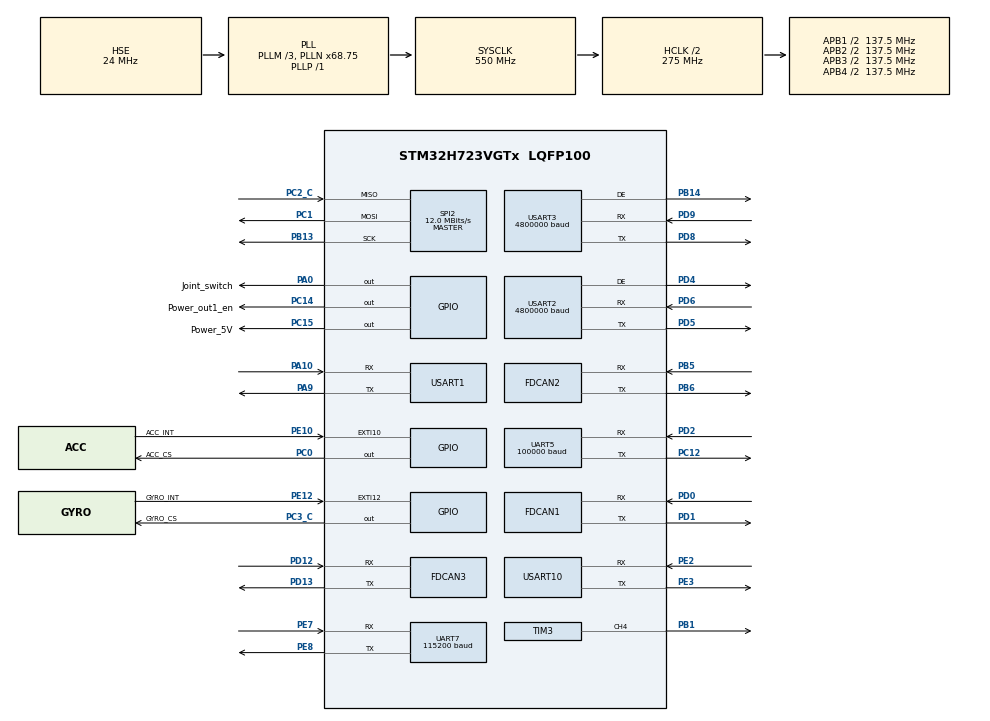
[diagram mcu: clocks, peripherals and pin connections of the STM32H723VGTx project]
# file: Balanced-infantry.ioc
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CORTEX_M7.default_mode_Activation=0
Dma.Request0=USART2_RX
Dma.Request1=USART2_TX
Dma.Request10=USART10_RX
Dma.Request11=USART1_RX
Dma.Request12=USART1_TX
Dma.Request2=USART3_RX
Dma.Request3=USART3_TX
Dma.Request4=UART7_RX
Dma.Request5=UART7_TX
Dma.Request6=UART5_RX
Dma.Request7=SPI2_RX
Dma.Request8=SPI2_TX
Dma.Request9=USART10_TX
Dma.SPI2_RX.7.Direction=DMA_PERIPH_TO_MEMORY
Dma.SPI2_RX.7.EventEnable=DISABLE
Dma.SPI2_RX.7.FIFOMode=DMA_FIFOMODE_DISABLE
Dma.SPI2_RX.7.Instance=DMA1_Stream7
Dma.SPI2_RX.7.MemDataAlignment=DMA_MDATAALIGN_BYTE
Dma.SPI2_RX.7.MemInc=DMA_MINC_ENABLE
Dma.SPI2_RX.7.Mode=DMA_NORMAL
Dma.SPI2_RX.7.PeriphDataAlignment=DMA_PDATAALIGN_BYTE
Dma.SPI2_RX.7.PeriphInc=DMA_PINC_DISABLE
Dma.SPI2_RX.7.Polarity=HAL_DMAMUX_REQ_GEN_RISING
Dma.SPI2_RX.7.Priority=DMA_PRIORITY_VERY_HIGH
Dma.SPI2_RX.7.RequestNumber=1
Dma.SPI2_RX.7.SignalID=NONE
Dma.SPI2_RX.7.SyncEnable=DISABLE
Dma.SPI2_RX.7.SyncPolarity=HAL_DMAMUX_SYNC_NO_EVENT
Dma.SPI2_RX.7.SyncRequestNumber=1
Dma.SPI2_RX.7.SyncSignalID=NONE
Dma.SPI2_TX.8.Direction=DMA_MEMORY_TO_PERIPH
Dma.SPI2_TX.8.EventEnable=DISABLE
Dma.SPI2_TX.8.FIFOMode=DMA_FIFOMODE_DISABLE
Dma.SPI2_TX.8.Instance=DMA2_Stream0
Dma.SPI2_TX.8.MemDataAlignment=DMA_MDATAALIGN_BYTE
Dma.SPI2_TX.8.MemInc=DMA_MINC_ENABLE
Dma.SPI2_TX.8.Mode=DMA_NORMAL
Dma.SPI2_TX.8.PeriphDataAlignment=DMA_PDATAALIGN_BYTE
Dma.SPI2_TX.8.PeriphInc=DMA_PINC_DISABLE
Dma.SPI2_TX.8.Polarity=HAL_DMAMUX_REQ_GEN_RISING
Dma.SPI2_TX.8.Priority=DMA_PRIORITY_HIGH
Dma.SPI2_TX.8.RequestNumber=1
Dma.SPI2_TX.8.SignalID=NONE
Dma.SPI2_TX.8.SyncEnable=DISABLE
Dma.SPI2_TX.8.SyncPolarity=HAL_DMAMUX_SYNC_NO_EVENT
Dma.SPI2_TX.8.SyncRequestNumber=1
Dma.SPI2_TX.8.SyncSignalID=NONE
Dma.UART5_RX.6.Direction=DMA_PERIPH_TO_MEMORY
Dma.UART5_RX.6.EventEnable=DISABLE
Dma.UART5_RX.6.FIFOMode=DMA_FIFOMODE_DISABLE
Dma.UART5_RX.6.Instance=DMA1_Stream0
Dma.UART5_RX.6.MemDataAlignment=DMA_MDATAALIGN_BYTE
Dma.UART5_RX.6.MemInc=DMA_MINC_ENABLE
Dma.UART5_RX.6.Mode=DMA_CIRCULAR
Dma.UART5_RX.6.PeriphDataAlignment=DMA_PDATAALIGN_BYTE
Dma.UART5_RX.6.PeriphInc=DMA_PINC_DISABLE
Dma.UART5_RX.6.Polarity=HAL_DMAMUX_REQ_GEN_RISING
Dma.UART5_RX.6.Priority=DMA_PRIORITY_VERY_HIGH
Dma.UART5_RX.6.RequestNumber=1
Dma.UART5_RX.6.SignalID=NONE
Dma.UART5_RX.6.SyncEnable=DISABLE
Dma.UART5_RX.6.SyncPolarity=HAL_DMAMUX_SYNC_NO_EVENT
Dma.UART5_RX.6.SyncRequestNumber=1
Dma.UART5_RX.6.SyncSignalID=NONE
Dma.UART7_RX.4.Direction=DMA_PERIPH_TO_MEMORY
Dma.UART7_RX.4.EventEnable=DISABLE
Dma.UART7_RX.4.FIFOMode=DMA_FIFOMODE_DISABLE
Dma.UART7_RX.4.Instance=DMA1_Stream4
Dma.UART7_RX.4.MemDataAlignment=DMA_MDATAALIGN_BYTE
Dma.UART7_RX.4.MemInc=DMA_MINC_ENABLE
Dma.UART7_RX.4.Mode=DMA_CIRCULAR
Dma.UART7_RX.4.PeriphDataAlignment=DMA_PDATAALIGN_BYTE
Dma.UART7_RX.4.PeriphInc=DMA_PINC_DISABLE
Dma.UART7_RX.4.Polarity=HAL_DMAMUX_REQ_GEN_RISING
Dma.UART7_RX.4.Priority=DMA_PRIORITY_VERY_HIGH
Dma.UART7_RX.4.RequestNumber=1
Dma.UART7_RX.4.SignalID=NONE
Dma.UART7_RX.4.SyncEnable=DISABLE
Dma.UART7_RX.4.SyncPolarity=HAL_DMAMUX_SYNC_NO_EVENT
Dma.UART7_RX.4.SyncRequestNumber=1
Dma.UART7_RX.4.SyncSignalID=NONE
Dma.UART7_TX.5.Direction=DMA_MEMORY_TO_PERIPH
Dma.UART7_TX.5.EventEnable=DISABLE
Dma.UART7_TX.5.FIFOMode=DMA_FIFOMODE_DISABLE
Dma.UART7_TX.5.Instance=DMA1_Stream5
Dma.UART7_TX.5.MemDataAlignment=DMA_MDATAALIGN_BYTE
Dma.UART7_TX.5.MemInc=DMA_MINC_ENABLE
Dma.UART7_TX.5.Mode=DMA_NORMAL
Dma.UART7_TX.5.PeriphDataAlignment=DMA_PDATAALIGN_BYTE
Dma.UART7_TX.5.PeriphInc=DMA_PINC_DISABLE
Dma.UART7_TX.5.Polarity=HAL_DMAMUX_REQ_GEN_RISING
Dma.UART7_TX.5.Priority=DMA_PRIORITY_LOW
Dma.UART7_TX.5.RequestNumber=1
Dma.UART7_TX.5.SignalID=NONE
Dma.UART7_TX.5.SyncEnable=DISABLE
Dma.UART7_TX.5.SyncPolarity=HAL_DMAMUX_SYNC_NO_EVENT
Dma.UART7_TX.5.SyncRequestNumber=1
Dma.UART7_TX.5.SyncSignalID=NONE
Dma.USART10_RX.10.Direction=DMA_PERIPH_TO_MEMORY
Dma.USART10_RX.10.EventEnable=DISABLE
Dma.USART10_RX.10.FIFOMode=DMA_FIFOMODE_DISABLE
Dma.USART10_RX.10.Instance=DMA2_Stream2
Dma.USART10_RX.10.MemDataAlignment=DMA_MDATAALIGN_BYTE
Dma.USART10_RX.10.MemInc=DMA_MINC_ENABLE
Dma.USART10_RX.10.Mode=DMA_CIRCULAR
Dma.USART10_RX.10.PeriphDataAlignment=DMA_PDATAALIGN_BYTE
Dma.USART10_RX.10.PeriphInc=DMA_PINC_DISABLE
Dma.USART10_RX.10.Polarity=HAL_DMAMUX_REQ_GEN_RISING
Dma.USART10_RX.10.Priority=DMA_PRIORITY_VERY_HIGH
Dma.USART10_RX.10.RequestNumber=1
Dma.USART10_RX.10.SignalID=NONE
Dma.USART10_RX.10.SyncEnable=DISABLE
Dma.USART10_RX.10.SyncPolarity=HAL_DMAMUX_SYNC_NO_EVENT
Dma.USART10_RX.10.SyncRequestNumber=1
Dma.USART10_RX.10.SyncSignalID=NONE
Dma.USART10_TX.9.Direction=DMA_MEMORY_TO_PERIPH
Dma.USART10_TX.9.EventEnable=DISABLE
Dma.USART10_TX.9.FIFOMode=DMA_FIFOMODE_DISABLE
Dma.USART10_TX.9.Instance=DMA2_Stream1
Dma.USART10_TX.9.MemDataAlignment=DMA_MDATAALIGN_BYTE
Dma.USART10_TX.9.MemInc=DMA_MINC_ENABLE
Dma.USART10_TX.9.Mode=DMA_NORMAL
Dma.USART10_TX.9.PeriphDataAlignment=DMA_PDATAALIGN_BYTE
Dma.USART10_TX.9.PeriphInc=DMA_PINC_DISABLE
Dma.USART10_TX.9.Polarity=HAL_DMAMUX_REQ_GEN_RISING
Dma.USART10_TX.9.Priority=DMA_PRIORITY_MEDIUM
Dma.USART10_TX.9.RequestNumber=1
Dma.USART10_TX.9.SignalID=NONE
Dma.USART10_TX.9.SyncEnable=DISABLE
Dma.USART10_TX.9.SyncPolarity=HAL_DMAMUX_SYNC_NO_EVENT
Dma.USART10_TX.9.SyncRequestNumber=1
Dma.USART10_TX.9.SyncSignalID=NONE
Dma.USART1_RX.11.Direction=DMA_PERIPH_TO_MEMORY
Dma.USART1_RX.11.EventEnable=DISABLE
Dma.USART1_RX.11.FIFOMode=DMA_FIFOMODE_DISABLE
Dma.USART1_RX.11.Instance=DMA2_Stream3
Dma.USART1_RX.11.MemDataAlignment=DMA_MDATAALIGN_BYTE
Dma.USART1_RX.11.MemInc=DMA_MINC_ENABLE
Dma.USART1_RX.11.Mode=DMA_CIRCULAR
Dma.USART1_RX.11.PeriphDataAlignment=DMA_PDATAALIGN_BYTE
Dma.USART1_RX.11.PeriphInc=DMA_PINC_DISABLE
Dma.USART1_RX.11.Polarity=HAL_DMAMUX_REQ_GEN_RISING
Dma.USART1_RX.11.Priority=DMA_PRIORITY_VERY_HIGH
Dma.USART1_RX.11.RequestNumber=1
Dma.USART1_RX.11.SignalID=NONE
Dma.USART1_RX.11.SyncEnable=DISABLE
Dma.USART1_RX.11.SyncPolarity=HAL_DMAMUX_SYNC_NO_EVENT
Dma.USART1_RX.11.SyncRequestNumber=1
Dma.USART1_RX.11.SyncSignalID=NONE
Dma.USART1_TX.12.Direction=DMA_MEMORY_TO_PERIPH
Dma.USART1_TX.12.EventEnable=DISABLE
Dma.USART1_TX.12.FIFOMode=DMA_FIFOMODE_DISABLE
Dma.USART1_TX.12.Instance=DMA2_Stream4
Dma.USART1_TX.12.MemDataAlignment=DMA_MDATAALIGN_BYTE
Dma.USART1_TX.12.MemInc=DMA_MINC_ENABLE
Dma.USART1_TX.12.Mode=DMA_NORMAL
Dma.USART1_TX.12.PeriphDataAlignment=DMA_PDATAALIGN_BYTE
Dma.USART1_TX.12.PeriphInc=DMA_PINC_DISABLE
Dma.USART1_TX.12.Polarity=HAL_DMAMUX_REQ_GEN_RISING
Dma.USART1_TX.12.Priority=DMA_PRIORITY_LOW
Dma.USART1_TX.12.RequestNumber=1
Dma.USART1_TX.12.SignalID=NONE
Dma.USART1_TX.12.SyncEnable=DISABLE
Dma.USART1_TX.12.SyncPolarity=HAL_DMAMUX_SYNC_NO_EVENT
Dma.USART1_TX.12.SyncRequestNumber=1
Dma.USART1_TX.12.SyncSignalID=NONE
Dma.USART2_RX.0.Direction=DMA_PERIPH_TO_MEMORY
Dma.USART2_RX.0.EventEnable=DISABLE
Dma.USART2_RX.0.FIFOMode=DMA_FIFOMODE_DISABLE
Dma.USART2_RX.0.Instance=DMA1_Stream6
Dma.USART2_RX.0.MemDataAlignment=DMA_MDATAALIGN_BYTE
Dma.USART2_RX.0.MemInc=DMA_MINC_ENABLE
Dma.USART2_RX.0.Mode=DMA_NORMAL
Dma.USART2_RX.0.PeriphDataAlignment=DMA_PDATAALIGN_BYTE
Dma.USART2_RX.0.PeriphInc=DMA_PINC_DISABLE
Dma.USART2_RX.0.Polarity=HAL_DMAMUX_REQ_GEN_RISING
Dma.USART2_RX.0.Priority=DMA_PRIORITY_LOW
Dma.USART2_RX.0.RequestNumber=1
Dma.USART2_RX.0.SignalID=NONE
Dma.USART2_RX.0.SyncEnable=DISABLE
Dma.USART2_RX.0.SyncPolarity=HAL_DMAMUX_SYNC_NO_EVENT
Dma.USART2_RX.0.SyncRequestNumber=1
Dma.USART2_RX.0.SyncSignalID=NONE
Dma.USART2_TX.1.Direction=DMA_MEMORY_TO_PERIPH
Dma.USART2_TX.1.EventEnable=DISABLE
Dma.USART2_TX.1.FIFOMode=DMA_FIFOMODE_DISABLE
Dma.USART2_TX.1.Instance=DMA1_Stream1
Dma.USART2_TX.1.MemDataAlignment=DMA_MDATAALIGN_BYTE
Dma.USART2_TX.1.MemInc=DMA_MINC_ENABLE
Dma.USART2_TX.1.Mode=DMA_NORMAL
Dma.USART2_TX.1.PeriphDataAlignment=DMA_PDATAALIGN_BYTE
Dma.USART2_TX.1.PeriphInc=DMA_PINC_DISABLE
Dma.USART2_TX.1.Polarity=HAL_DMAMUX_REQ_GEN_RISING
Dma.USART2_TX.1.Priority=DMA_PRIORITY_LOW
Dma.USART2_TX.1.RequestNumber=1
Dma.USART2_TX.1.SignalID=NONE
Dma.USART2_TX.1.SyncEnable=DISABLE
Dma.USART2_TX.1.SyncPolarity=HAL_DMAMUX_SYNC_NO_EVENT
Dma.USART2_TX.1.SyncRequestNumber=1
Dma.USART2_TX.1.SyncSignalID=NONE
Dma.USART3_RX.2.Direction=DMA_PERIPH_TO_MEMORY
Dma.USART3_RX.2.EventEnable=DISABLE
Dma.USART3_RX.2.FIFOMode=DMA_FIFOMODE_DISABLE
Dma.USART3_RX.2.Instance=DMA1_Stream2
Dma.USART3_RX.2.MemDataAlignment=DMA_MDATAALIGN_BYTE
Dma.USART3_RX.2.MemInc=DMA_MINC_ENABLE
Dma.USART3_RX.2.Mode=DMA_NORMAL
Dma.USART3_RX.2.PeriphDataAlignment=DMA_PDATAALIGN_BYTE
Dma.USART3_RX.2.PeriphInc=DMA_PINC_DISABLE
Dma.USART3_RX.2.Polarity=HAL_DMAMUX_REQ_GEN_RISING
Dma.USART3_RX.2.Priority=DMA_PRIORITY_LOW
Dma.USART3_RX.2.RequestNumber=1
Dma.USART3_RX.2.SignalID=NONE
Dma.USART3_RX.2.SyncEnable=DISABLE
Dma.USART3_RX.2.SyncPolarity=HAL_DMAMUX_SYNC_NO_EVENT
Dma.USART3_RX.2.SyncRequestNumber=1
Dma.USART3_RX.2.SyncSignalID=NONE
Dma.USART3_TX.3.Direction=DMA_MEMORY_TO_PERIPH
Dma.USART3_TX.3.EventEnable=DISABLE
Dma.USART3_TX.3.FIFOMode=DMA_FIFOMODE_DISABLE
Dma.USART3_TX.3.Instance=DMA1_Stream3
Dma.USART3_TX.3.MemDataAlignment=DMA_MDATAALIGN_BYTE
Dma.USART3_TX.3.MemInc=DMA_MINC_ENABLE
Dma.USART3_TX.3.Mode=DMA_NORMAL
Dma.USART3_TX.3.PeriphDataAlignment=DMA_PDATAALIGN_BYTE
Dma.USART3_TX.3.PeriphInc=DMA_PINC_DISABLE
Dma.USART3_TX.3.Polarity=HAL_DMAMUX_REQ_GEN_RISING
Dma.USART3_TX.3.Priority=DMA_PRIORITY_LOW
Dma.USART3_TX.3.RequestNumber=1
Dma.USART3_TX.3.SignalID=NONE
Dma.USART3_TX.3.SyncEnable=DISABLE
Dma.USART3_TX.3.SyncPolarity=HAL_DMAMUX_SYNC_NO_EVENT
Dma.USART3_TX.3.SyncRequestNumber=1
Dma.USART3_TX.3.SyncSignalID=NONE
FDCAN1.CalculateBaudRateNominal=1000000
FDCAN1.CalculateTimeBitNominal=1000
FDCAN1.CalculateTimeQuantumNominal=31.25
FDCAN1.DataPrescaler=3
FDCAN1.DataSyncJumpWidth=10
FDCAN1.DataTimeSeg1=23
FDCAN1.DataTimeSeg2=8
FDCAN1.FrameFormat=FDCAN_FRAME_CLASSIC
FDCAN1.NominalPrescaler=3
FDCAN1.NominalTimeSeg1=23
FDCAN1.NominalTimeSeg2=8
FDCAN1.RxFifo0ElmtSize=FDCAN_DATA_BYTES_8
FDCAN1.RxFifo0ElmtsNbr=2
FDCAN1.StdFiltersNbr=1
FDCAN1.TxBuffersNbr=28
FDCAN1.TxFifoQueueElmtsNbr=4
FDCAN2.CalculateBaudRateNominal=1000000
FDCAN2.CalculateTimeBitNominal=1000
FDCAN2.CalculateTimeQuantumNominal=31.25
FDCAN2.DataPrescaler=3
FDCAN2.DataSyncJumpWidth=10
FDCAN2.DataTimeSeg1=23
FDCAN2.DataTimeSeg2=8
FDCAN2.FrameFormat=FDCAN_FRAME_CLASSIC
FDCAN2.MessageRAMOffset=853
FDCAN2.NominalPrescaler=3
FDCAN2.NominalSyncJumpWidth=1
FDCAN2.NominalTimeSeg1=23
FDCAN2.NominalTimeSeg2=8
FDCAN2.RxFifo0ElmtsNbr=2
FDCAN2.RxFifo1ElmtSize=FDCAN_DATA_BYTES_8
FDCAN2.RxFifo1ElmtsNbr=0
FDCAN2.StdFiltersNbr=1
FDCAN2.TxBuffersNbr=30
FDCAN2.TxFifoQueueElmtsNbr=2
FDCAN3.CalculateBaudRateNominal=1000000
FDCAN3.CalculateTimeBitNominal=1000
FDCAN3.CalculateTimeQuantumNominal=31.25
FDCAN3.DataPrescaler=3
FDCAN3.DataSyncJumpWidth=10
FDCAN3.DataTimeSeg1=23
FDCAN3.DataTimeSeg2=8
FDCAN3.MessageRAMOffset=1706
FDCAN3.NominalPrescaler=3
FDCAN3.NominalTimeSeg1=23
FDCAN3.NominalTimeSeg2=8
FDCAN3.RxFifo0ElmtsNbr=2
FDCAN3.StdFiltersNbr=1
FDCAN3.TxBuffersNbr=30
FDCAN3.TxFifoQueueElmtsNbr=2
FREERTOS.Tasks01=defaultTask,0,128,StartDefaultTask,Default,NULL,Dynamic,NULL,NULL
FREERTOS.configMAX_TASK_NAME_LEN=32
Mcu.Family=STM32H7
Mcu.Name=STM32H723VGTx
Mcu.Package=LQFP100
NVIC.DMA1_Stream0_IRQn=true\:5\:0\:false\:false\:true\:true\:false\:true\:true
NVIC.DMA1_Stream1_IRQn=true\:5\:0\:false\:false\:true\:true\:false\:true\:true
NVIC.DMA1_Stream2_IRQn=true\:5\:0\:false\:false\:true\:true\:false\:true\:true
NVIC.DMA1_Stream3_IRQn=true\:5\:0\:false\:false\:true\:true\:false\:true\:true
NVIC.DMA1_Stream4_IRQn=true\:5\:0\:false\:false\:true\:true\:false\:true\:true
NVIC.DMA1_Stream5_IRQn=true\:5\:0\:false\:false\:true\:true\:false\:true\:true
NVIC.DMA1_Stream6_IRQn=true\:5\:0\:false\:false\:true\:true\:false\:true\:true
NVIC.DMA1_Stream7_IRQn=true\:5\:0\:false\:false\:true\:true\:true\:true\:true
NVIC.DMA2_Stream0_IRQn=true\:5\:0\:false\:false\:true\:true\:true\:true\:true
NVIC.DMA2_Stream1_IRQn=true\:5\:0\:false\:false\:true\:true\:true\:true\:true
NVIC.DMA2_Stream2_IRQn=true\:5\:0\:false\:false\:true\:true\:true\:true\:true
NVIC.DMA2_Stream3_IRQn=true\:5\:0\:false\:false\:true\:true\:true\:true\:true
NVIC.DMA2_Stream4_IRQn=true\:5\:0\:false\:false\:true\:true\:true\:true\:true
NVIC.FDCAN1_IT0_IRQn=true\:5\:0\:false\:false\:true\:true\:true\:true\:true
NVIC.FDCAN2_IT0_IRQn=true\:5\:0\:false\:false\:true\:true\:true\:true\:true
NVIC.FDCAN3_IT0_IRQn=true\:5\:0\:false\:false\:true\:true\:true\:true\:true
NVIC.PriorityGroup=NVIC_PRIORITYGROUP_4
NVIC.SPI2_IRQn=true\:5\:0\:false\:false\:true\:true\:false\:true\:true
NVIC.TIM2_IRQn=true\:15\:0\:false\:false\:true\:false\:false\:true\:true
NVIC.TimeBase=TIM2_IRQn
NVIC.TimeBaseIP=TIM2
NVIC.UART5_IRQn=true\:5\:0\:false\:false\:true\:true\:true\:true\:true
NVIC.UART7_IRQn=true\:5\:0\:false\:false\:true\:true\:true\:true\:true
NVIC.USART10_IRQn=true\:5\:0\:false\:false\:true\:true\:true\:true\:true
NVIC.USART1_IRQn=true\:5\:0\:false\:false\:true\:true\:true\:true\:true
NVIC.USART2_IRQn=true\:5\:0\:false\:false\:true\:true\:false\:true\:true
NVIC.USART3_IRQn=true\:5\:0\:false\:false\:true\:true\:false\:true\:true
PA0.GPIO_Label=Joint_switch
PA0.GPIO_PuPd=GPIO_NOPULL
PA0.GPIO_Speed=GPIO_SPEED_FREQ_VERY_HIGH
PA0.PinState=GPIO_PIN_SET
PA0.Signal=GPIO_Output
PA10.Mode=Asynchronous
PA10.Signal=USART1_RX
PA13(JTMS/SWDIO).Mode=Serial_Wire
PA13(JTMS/SWDIO).Signal=DEBUG_JTMS-SWDIO
PA14(JTCK/SWCLK).Mode=Serial_Wire
PA14(JTCK/SWCLK).Signal=DEBUG_JTCK-SWCLK
PA9.Mode=Asynchronous
PA9.Signal=USART1_TX
PB1.Signal=S_TIM3_CH4
PB13.GPIO_Speed=GPIO_SPEED_FREQ_VERY_HIGH
PB13.Mode=Full_Duplex_Master
PB13.Signal=SPI2_SCK
PB14.Mode=Hardware Flow Control (RS485)
PB14.Signal=USART3_DE
PB5.Mode=FDCAN_Activate
PB5.Signal=FDCAN2_RX
PB6.Mode=FDCAN_Activate
PB6.Signal=FDCAN2_TX
PC0.GPIO_Label=ACC_CS
PC0.GPIO_Speed=GPIO_SPEED_FREQ_VERY_HIGH
PC0.PinState=GPIO_PIN_SET
PC0.Signal=GPIO_Output
PC1.Mode=Full_Duplex_Master
PC1.Signal=SPI2_MOSI
PC12.Mode=Asynchronous
PC12.Signal=UART5_TX
PC14-OSC32_IN.GPIO_Label=Power_out1_en
PC14-OSC32_IN.PinState=GPIO_PIN_SET
PC14-OSC32_IN.Signal=GPIO_Output
PC15-OSC32_OUT.GPIO_Label=Power_5V
PC15-OSC32_OUT.PinState=GPIO_PIN_SET
PC15-OSC32_OUT.Signal=GPIO_Output
PC2_C.Mode=Full_Duplex_Master
PC2_C.Signal=SPI2_MISO
PC3_C.GPIO_Label=GYRO_CS
PC3_C.GPIO_Speed=GPIO_SPEED_FREQ_VERY_HIGH
PC3_C.PinState=GPIO_PIN_SET
PC3_C.Signal=GPIO_Output
PD0.Mode=FDCAN_Activate
PD0.Signal=FDCAN1_RX
PD1.Mode=FDCAN_Activate
PD1.Signal=FDCAN1_TX
PD12.Mode=FDCAN_Activate
PD12.Signal=FDCAN3_RX
PD13.Mode=FDCAN_Activate
PD13.Signal=FDCAN3_TX
PD2.Mode=Asynchronous
PD2.Signal=UART5_RX
PD4.Mode=Hardware Flow Control (RS485)
PD4.Signal=USART2_DE
PD5.Mode=Asynchronous
PD5.Signal=USART2_TX
PD6.Mode=Asynchronous
PD6.Signal=USART2_RX
PD8.Mode=Asynchronous
PD8.Signal=USART3_TX
PD9.Mode=Asynchronous
PD9.Signal=USART3_RX
PE10.GPIO_Label=ACC_INT
PE10.Signal=GPXTI10
PE12.GPIO_Label=GYRO_INT
PE12.Signal=GPXTI12
PE2.Mode=Asynchronous
PE2.Signal=USART10_RX
PE3.Mode=Asynchronous
PE3.Signal=USART10_TX
PE7.Mode=Asynchronous
PE7.Signal=UART7_RX
PE8.Mode=Asynchronous
PE8.Signal=UART7_TX
PH0-OSC_IN.Mode=HSE-External-Oscillator
PH0-OSC_IN.Signal=RCC_OSC_IN
PH1-OSC_OUT.Mode=HSE-External-Oscillator
PH1-OSC_OUT.Signal=RCC_OSC_OUT
ProjectManager.HeapSize=0x2000
ProjectManager.StackSize=0x4000
ProjectManager.TargetToolchain=MDK-ARM V5.32
RCC.ADCFreq_Value=96000000
RCC.APB1Freq_Value=137500000
RCC.APB2Freq_Value=137500000
RCC.APB3Freq_Value=137500000
RCC.APB4Freq_Value=137500000
RCC.CortexFreq_Value=550000000
RCC.D1PPRE=RCC_APB3_DIV2
RCC.D2PPRE1=RCC_APB1_DIV2
RCC.D2PPRE2=RCC_APB2_DIV2
RCC.D3PPRE=RCC_APB4_DIV2
RCC.DIVM1=3
RCC.DIVM2=2
RCC.DIVN1=68
RCC.DIVN2=16
RCC.DIVP1=1
RCC.FDCANCLockSelection=RCC_FDCANCLKSOURCE_PLL2
RCC.HCLKFreq_Value=275000000
RCC.HPRE=RCC_HCLK_DIV2
RCC.HSE_VALUE=24000000
RCC.PLL2FRACN=0
RCC.PLLFRACN=6144
RCC.PLLSourceVirtual=RCC_PLLSOURCE_HSE
RCC.SPI123CLockSelection=RCC_SPI123CLKSOURCE_PLL2
RCC.SYSCLKFreq_VALUE=550000000
RCC.SYSCLKSource=RCC_SYSCLKSOURCE_PLLCLK
RCC.USART234578CLockSelection=RCC_USART234578CLKSOURCE_PLL2
RCC.USBFreq_Value=275000000
SH.S_TIM3_CH4.0=TIM3_CH4,PWM Generation4 CH4
SPI2.BaudRatePrescaler=SPI_BAUDRATEPRESCALER_8
SPI2.CLKPhase=SPI_PHASE_2EDGE
SPI2.CLKPolarity=SPI_POLARITY_HIGH
SPI2.CalculateBaudRate=12.0 MBits/s
SPI2.DataSize=SPI_DATASIZE_8BIT
SPI2.Direction=SPI_DIRECTION_2LINES
SPI2.Mode=SPI_MODE_MASTER
SPI2.VirtualType=VM_MASTER
STMicroelectronics.X-CUBE-ALGOBUILD.1.4.0.LibraryCcDSPOoLibraryJjDSPOoLibrary=true
TIM1.Prescaler=275-1
TIM3.AutoReloadPreload=TIM_AUTORELOAD_PRELOAD_ENABLE
TIM3.Channel-PWM\ Generation4\ CH4=TIM_CHANNEL_4
TIM3.Period=10000-1
TIM3.Prescaler=275-1
UART5.BaudRate=100000
UART5.Parity=PARITY_EVEN
UART5.StopBits=UART_STOPBITS_2
UART5.WordLength=WORDLENGTH_9B
UART7.BaudRate=115200
USART1.VirtualMode-Asynchronous=VM_ASYNC
USART10.VirtualMode=VM_ASYNC
USART2.BaudRate=4800000
USART2.VirtualMode-Asynchronous=VM_ASYNC
USART2.VirtualMode-Hardware\ Flow\ Control\ (RS485)=VM_ASYNC
USART3.BaudRate=4800000
USART3.VirtualMode-Asynchronous=VM_ASYNC
USART3.VirtualMode-Hardware\ Flow\ Control\ (RS485)=VM_ASYNC
VP_FREERTOS_VS_CMSIS_V1.Mode=CMSIS_V1
VP_MEMORYMAP_VS_MEMORYMAP.Mode=CurAppReg
VP_STMicroelectronics.X-CUBE-ALGOBUILD_VS_DSPOoLibraryJjLibrary_1.4.0_1.4.0.Mode=DSPOoLibraryJjLibrary
VP_SYS_VS_tim2.Mode=TIM2
VP_TIM1_VS_ClockSourceINT.Mode=Internal
board=custom

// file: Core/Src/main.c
/* USER CODE BEGIN Header */
/**
  ******************************************************************************
  * @file           : main.c
  * @brief          : Main program body
  ******************************************************************************
  * @attention
  *
  * Copyright (c) 2025 STMicroelectronics.
  * All rights reserved.
  *
  * This software is licensed under terms that can be found in the LICENSE file
  * in the root directory of this software component.
  * If no LICENSE file comes with this software, it is provided AS-IS.
  *
  ******************************************************************************
  */
/* USER CODE END Header */
#include "main.h"
#include "cmsis_os.h"
#include "dma.h"
#include "fdcan.h"
#include "spi.h"
#include "tim.h"
#include "usart.h"
#include "gpio.h"

/* USER CODE BEGIN Includes */
#include "remote_control.h"
#include "bsp_can.h"
#include "BMI088driver.h"
#include "USART7_Receive.h"
#include "SEGGER_SYSVIEW.h"
#include "referee_system_task.h"
#include "Image_Trans_Receive.h"
/* USER CODE END Includes */

void SystemClock_Config(void);
void PeriphCommonClock_Config(void);
void MX_FREERTOS_Init(void);

int main(void)
{

  /* MCU Configuration--------------------------------------------------------*/

  /* Reset of all peripherals, Initializes the Flash interface and the Systick. */
  HAL_Init();

  /* Configure the system clock */
  SystemClock_Config();

  /* Configure the peripherals common clocks */
  PeriphCommonClock_Config();

  /* Initialize all configured peripherals */
  MX_GPIO_Init();
  MX_DMA_Init();
  MX_USART2_UART_Init();
  MX_USART3_UART_Init();
  MX_FDCAN1_Init();
  MX_FDCAN2_Init();
  MX_UART7_Init();
  MX_UART5_Init();
  MX_SPI2_Init();
  MX_TIM3_Init();
  MX_USART10_UART_Init();
  MX_TIM1_Init();
  MX_USART1_UART_Init();
  MX_FDCAN3_Init();
  /* USER CODE BEGIN 2 */
  remote_control_init();
  can_filter_init();
  USART7_receive_init();
  SEGGER_SYSVIEW_Conf();
  referee_usart_init();
  ImageTransReceive_Init();
  /* USER CODE END 2 */

  /* Call init function for freertos objects (in cmsis_os2.c) */
  MX_FREERTOS_Init();

  /* Start scheduler */
  osKernelStart();

  /* We should never get here as control is now taken by the scheduler */

  /* Infinite loop */
  while (1)
  {

  }
}

void SystemClock_Config(void)
{
  RCC_OscInitTypeDef RCC_OscInitStruct = {0};
  RCC_ClkInitTypeDef RCC_ClkInitStruct = {0};

  /** Supply configuration update enable
  */
  HAL_PWREx_ConfigSupply(PWR_LDO_SUPPLY);

  /** Configure the main internal regulator output voltage
  */
  __HAL_PWR_VOLTAGESCALING_CONFIG(PWR_REGULATOR_VOLTAGE_SCALE0);

  while(!__HAL_PWR_GET_FLAG(PWR_FLAG_VOSRDY)) {}

  /** Initializes the RCC Oscillators according to the specified parameters
  * in the RCC_OscInitTypeDef structure.
  */
  RCC_OscInitStruct.OscillatorType = RCC_OSCILLATORTYPE_HSE;
  RCC_OscInitStruct.HSEState = RCC_HSE_ON;
  RCC_OscInitStruct.PLL.PLLState = RCC_PLL_ON;
  RCC_OscInitStruct.PLL.PLLSource = RCC_PLLSOURCE_HSE;
  RCC_OscInitStruct.PLL.PLLM = 3;
  RCC_OscInitStruct.PLL.PLLN = 68;
  RCC_OscInitStruct.PLL.PLLP = 1;
  RCC_OscInitStruct.PLL.PLLQ = 2;
  RCC_OscInitStruct.PLL.PLLR = 2;
  RCC_OscInitStruct.PLL.PLLRGE = RCC_PLL1VCIRANGE_3;
  RCC_OscInitStruct.PLL.PLLVCOSEL = RCC_PLL1VCOWIDE;
  RCC_OscInitStruct.PLL.PLLFRACN = 6144;
  if (HAL_RCC_OscConfig(&RCC_OscInitStruct) != HAL_OK)
  {
    Error_Handler();
  }

  /** Initializes the CPU, AHB and APB buses clocks
  */
  RCC_ClkInitStruct.ClockType = RCC_CLOCKTYPE_HCLK|RCC_CLOCKTYPE_SYSCLK
                              |RCC_CLOCKTYPE_PCLK1|RCC_CLOCKTYPE_PCLK2
                              |RCC_CLOCKTYPE_D3PCLK1|RCC_CLOCKTYPE_D1PCLK1;
  RCC_ClkInitStruct.SYSCLKSource = RCC_SYSCLKSOURCE_PLLCLK;
  RCC_ClkInitStruct.SYSCLKDivider = RCC_SYSCLK_DIV1;
  RCC_ClkInitStruct.AHBCLKDivider = RCC_HCLK_DIV2;
  RCC_ClkInitStruct.APB3CLKDivider = RCC_APB3_DIV2;
  RCC_ClkInitStruct.APB1CLKDivider = RCC_APB1_DIV2;
  RCC_ClkInitStruct.APB2CLKDivider = RCC_APB2_DIV2;
  RCC_ClkInitStruct.APB4CLKDivider = RCC_APB4_DIV2;

  if (HAL_RCC_ClockConfig(&RCC_ClkInitStruct, FLASH_LATENCY_3) != HAL_OK)
  {
    Error_Handler();
  }
}

void PeriphCommonClock_Config(void)
{
  RCC_PeriphCLKInitTypeDef PeriphClkInitStruct = {0};

  /** Initializes the peripherals clock
  */
  PeriphClkInitStruct.PeriphClockSelection = RCC_PERIPHCLK_SPI2|RCC_PERIPHCLK_UART5
                              |RCC_PERIPHCLK_FDCAN|RCC_PERIPHCLK_UART7
                              |RCC_PERIPHCLK_USART2|RCC_PERIPHCLK_USART3;
  PeriphClkInitStruct.PLL2.PLL2M = 2;
  PeriphClkInitStruct.PLL2.PLL2N = 16;
  PeriphClkInitStruct.PLL2.PLL2P = 2;
  PeriphClkInitStruct.PLL2.PLL2Q = 2;
  PeriphClkInitStruct.PLL2.PLL2R = 2;
  PeriphClkInitStruct.PLL2.PLL2RGE = RCC_PLL2VCIRANGE_3;
  PeriphClkInitStruct.PLL2.PLL2VCOSEL = RCC_PLL2VCOWIDE;
  PeriphClkInitStruct.PLL2.PLL2FRACN = 0;
  PeriphClkInitStruct.Spi123ClockSelection = RCC_SPI123CLKSOURCE_PLL2;
  PeriphClkInitStruct.FdcanClockSelection = RCC_FDCANCLKSOURCE_PLL2;
  PeriphClkInitStruct.Usart234578ClockSelection = RCC_USART234578CLKSOURCE_PLL2;
  if (HAL_RCCEx_PeriphCLKConfig(&PeriphClkInitStruct) != HAL_OK)
  {
    Error_Handler();
  }
}

void HAL_TIM_PeriodElapsedCallback(TIM_HandleTypeDef *htim)
{
  if (htim->Instance == TIM2)
  {
    HAL_IncTick();
  }
}

void Error_Handler(void)
{
  __disable_irq();
  while (1)
  {
  }
}

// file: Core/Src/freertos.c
/* USER CODE BEGIN Header */
/**
  ******************************************************************************
  * File Name          : freertos.c
  * Description        : Code for freertos applications
  ******************************************************************************
  * @attention
  *
  * Copyright (c) 2025 STMicroelectronics.
  * All rights reserved.
  *
  * This software is licensed under terms that can be found in the LICENSE file
  * in the root directory of this software component.
  * If no LICENSE file comes with this software, it is provided AS-IS.
  *
  ******************************************************************************
  */
/* USER CODE END Header */

#include "FreeRTOS.h"
#include "task.h"
#include "main.h"
#include "cmsis_os.h"

/* USER CODE BEGIN Includes */
#include "chassis_task.h"
#include "detect_task.h"
#include "INS_task.h"
#include "send_task.h"
#include "referee_system_task.h"
/* USER CODE END Includes */

/* USER CODE BEGIN Variables */
osThreadId detectTaskHandle;
osThreadId chassisTaskHandle;
osThreadId imuTaskHandle;
osThreadId sendTaskHandle;
osThreadId referee_usartTaskHandle;
/* USER CODE END Variables */
osThreadId defaultTaskHandle;

void StartDefaultTask(void const * argument);

void MX_FREERTOS_Init(void); /* (MISRA C 2004 rule 8.1) */

/* GetIdleTaskMemory prototype (linked to static allocation support) */
void vApplicationGetIdleTaskMemory( StaticTask_t **ppxIdleTaskTCBBuffer, StackType_t **ppxIdleTaskStackBuffer, uint32_t *pulIdleTaskStackSize );

/* USER CODE BEGIN GET_IDLE_TASK_MEMORY */
static StaticTask_t xIdleTaskTCBBuffer;
static StackType_t xIdleStack[configMINIMAL_STACK_SIZE];

void vApplicationGetIdleTaskMemory( StaticTask_t **ppxIdleTaskTCBBuffer, StackType_t **ppxIdleTaskStackBuffer, uint32_t *pulIdleTaskStackSize )
{
  *ppxIdleTaskTCBBuffer = &xIdleTaskTCBBuffer;
  *ppxIdleTaskStackBuffer = &xIdleStack[0];
  *pulIdleTaskStackSize = configMINIMAL_STACK_SIZE;
  /* place for user code */
}
/* USER CODE END GET_IDLE_TASK_MEMORY */

void MX_FREERTOS_Init(void) {

  /* Create the thread(s) */
  /* definition and creation of defaultTask */
  osThreadDef(defaultTask, StartDefaultTask, osPriorityNormal, 0, 128);
  defaultTaskHandle = osThreadCreate(osThread(defaultTask), NULL);

  /* USER CODE BEGIN RTOS_THREADS */
  osThreadDef(detectTask, detect_task, osPriorityHigh, 0, 256);
  detectTaskHandle = osThreadCreate(osThread(detectTask), NULL);

  osThreadDef(chassisTask, chassis_task, osPriorityAboveNormal, 0, 1024);
  chassisTaskHandle = osThreadCreate(osThread(chassisTask), NULL);

  osThreadDef(imuTask, INS_task, osPriorityRealtime, 0, 1024);
  imuTaskHandle = osThreadCreate(osThread(imuTask), NULL);

  osThreadDef(sendTask, send_task, osPriorityHigh, 0, 1024);
  sendTaskHandle = osThreadCreate(osThread(sendTask), NULL);

  osThreadDef(REFEREE, referee_usart_task, osPriorityHigh, 0, 128);
  referee_usartTaskHandle = osThreadCreate(osThread(REFEREE), NULL);

  /* add threads, ... */
  /* USER CODE END RTOS_THREADS */

}

void StartDefaultTask(void const * argument)
{
  for(;;)
  {
    osDelay(1);
  }
}
